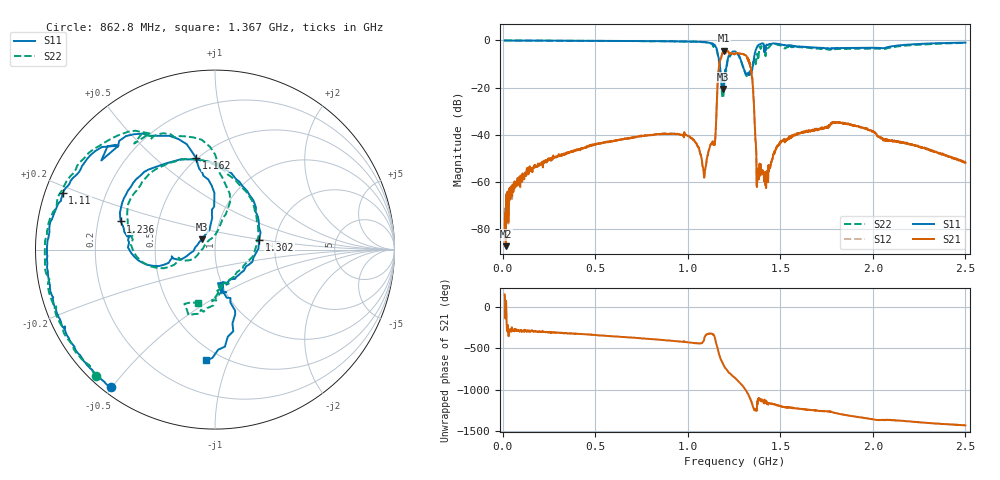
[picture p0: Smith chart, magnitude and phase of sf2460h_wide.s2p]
!Keysight Technologies,E5080A,MY55200989,A.11.70.00
!Date: Tuesday, January 30, 2018 08:35:51
!Correction: S11(Full 2 Port(1,2))
!S21(Full 2 Port(1,2))
!S12(Full 2 Port(1,2))
!S22(Full 2 Port(1,2))
!S2P File: Measurements: S11, S21, S12, S22:
# Hz S  dB  R 50
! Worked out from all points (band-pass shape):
!   1601 points, 10 MHz to 2.5 GHz, reference 50 ohm
!   highest |S21| = -4.32 dB at 1.196 GHz (marker M1); lowest = -87.1 dB at 16.23 MHz (marker M2)
!   |S21| within 3 dB of the highest: 1.18 GHz to 1.32 GHz (140.1 MHz wide, 11.2 % of centre); 1.324804 GHz to 1.325064 GHz (260.3 kHz wide, 0.0196 % of centre)
!   lowest |S11| = -20.6 dB at 1.188 GHz (marker M3), VSWR 1.21, Z = 42.9 + j5.06 ohm
!   |S11| at or under -10 dB: 1.173 GHz to 1.211 GHz (38.32 MHz wide, 3.22 % of centre); 1.293 GHz to 1.353 GHz (60.06 MHz wide, 4.54 % of centre)
!   |S22| runs from -24.4 to 0.0 dB; largest |S21 - S12| = 0.001
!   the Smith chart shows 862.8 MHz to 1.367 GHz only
!   S11 on the Smith chart (normalised r, x): 862.8 MHz: 0.03, -0.50; 1.11 GHz: 0.05, +0.18; 1.162 GHz: 0.49, +0.69; 1.236 GHz: 0.30, +0.13; 1.302 GHz: 1.64, +0.20; 1.367 GHz: 0.42, -0.83
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1e7  -0.01 -1.5  -79.73 148.9  -78.52 135.9  -0.01 -1.4
1.6225e7  -0.01 -2.3  -87.14 -31.9  -78.41 -38.8  0.00 -2.4
1.329438e8  -0.07 -17.6  -53.93 74.4  -54.02 74.4  -0.04 -18.5
4.255188e8  -0.13 -57.3  -45.85 31.6  -45.77 31.7  -0.15 -60.2
8.410375e8  -0.32 -122.8  -39.59 -35.8  -39.62 -35.7  -0.30 -128.8
8.62825e8  -0.35 -126.9  -39.47 -40.1  -39.46 -40.1  -0.32 -133.2
1.088481e9  -0.62 171.3  -58.12 -32.8  -58.26 -31.1  -0.71 161.6
1.110269e9  -0.86 159.8  -47.45 35.5  -47.47 35.6  -0.93 148.8
1.141394e9  -1.89 133.5  -43.05 17.4  -42.99 17.7  -2.79 119.4
1.161625e9  -5.69 101.6  -17.33 -147.1  -17.34 -147.1  -6.23 88.4
1.188081e9  -20.55 141.5  -5.20 40.8  -5.20 40.9  -24.38 133.2
1.195862e9  -17.06 -171.6  -4.32 5.0  -4.31 4.9  -19.95 -163.0
1.236325e9  -5.22 163.4  -5.31 -101.8  -5.32 -101.9  -5.65 159.5
1.255e9  -4.65 132.4  -5.71 -137.9  -5.71 -137.8  -5.06 131.0
1.301688e9  -11.96 12.8  -5.92 110.6  -5.91 110.6  -11.95 16.5
1.34215e9  -12.72 -79.2  -13.62 -55.8  -13.61 -55.8  -11.97 -84.6
1.36705e9  -4.19 -94.8  -42.75 -167.5  -42.71 -167.6  -10.10 -108.1
1.384169e9  -1.82 -127.5  -58.85 -21.7  -58.88 -21.4  -4.88 -106.6
1.457312e9  -1.28 175.3  -49.99 -95.0  -49.92 -94.7  -1.61 178.1
1.670519e9  -2.94 93.0  -38.28 -165.4  -38.27 -165.4  -3.33 92.5
2.086038e9  -2.75 -17.7  -42.16 74.3  -42.18 73.7  -3.12 -14.7
2.5e9  -0.90 -105.8  -51.78 8.0  -51.84 8.6  -1.04 -102.9
